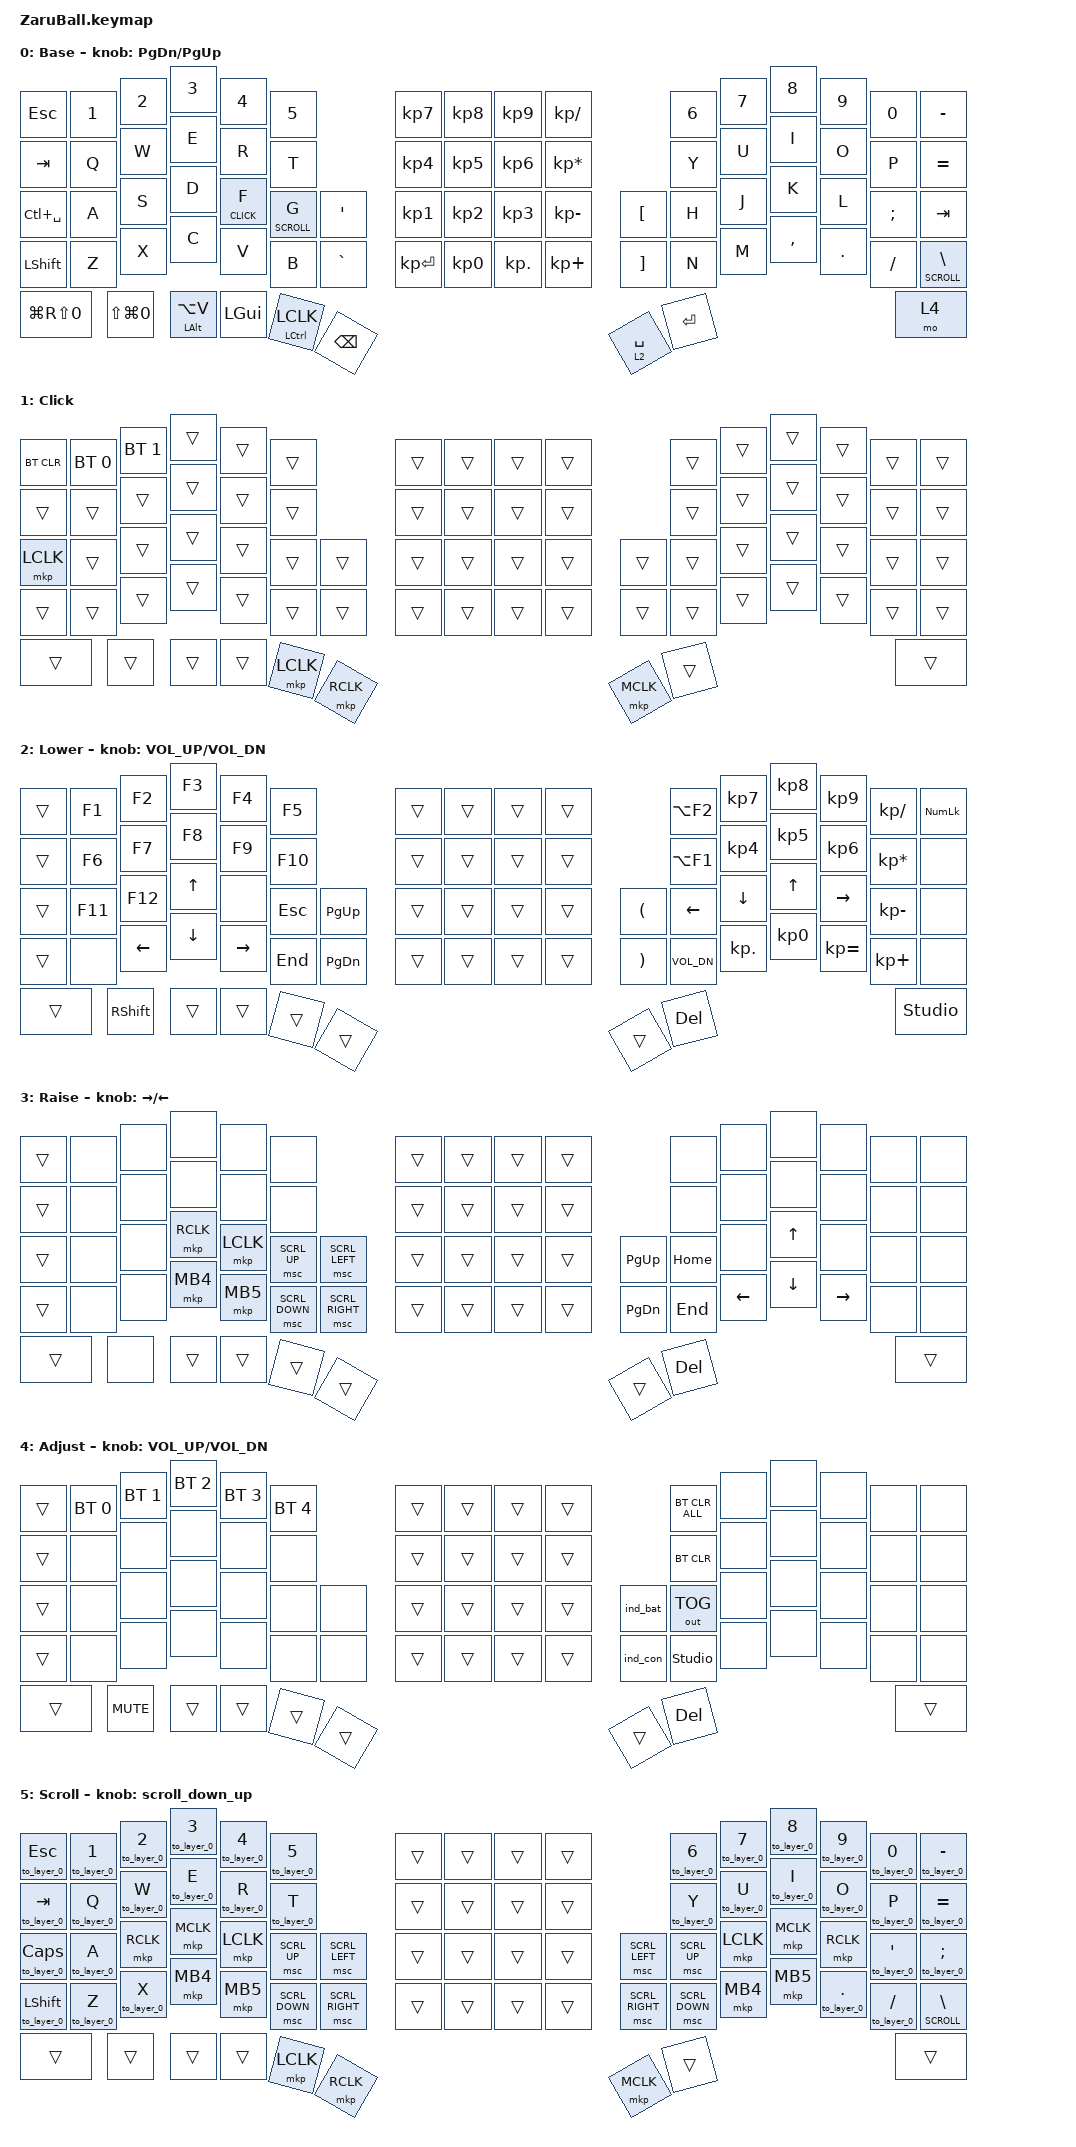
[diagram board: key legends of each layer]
//#include <dt-bindings/zmk/mouse.h>

#include <behaviors/rgbled_widget.dtsi>
#include <behaviors/naginata.dtsi>
#include <behaviors.dtsi>
#include <dt-bindings/zmk/bt.h>
#include <dt-bindings/zmk/keys.h>
#include <dt-bindings/zmk/outputs.h>
#include <dt-bindings/zmk/pointing.h>

#define BASE     0
#define CLICK    1
#define LOWER    2
#define RAISE    3
#define ADJUST   4
#define SCROLL   5

// スクロール量の設定

#define ZMK_POINTING_DEFAULT_MOVE_VAL 3200
#define ZMK_POINTING_DEFAULT_SCRL_VAL 24

/ {
    conditional_layers {
        compatible = "zmk,conditional-layers";

        tri_layer {
            if-layers = <2 3>;
            then-layer = <4>;
        };
    };
};

/ {
    behaviors {
        // スクロール用のbehaviorの設定

        scroll_down_up: behavior_sensor_rotate_mouse_wheel_down_up {
            compatible = "zmk,behavior-sensor-rotate";
            #sensor-binding-cells = <0>;
            bindings = <&msc SCRL_DOWN>, <&msc SCRL_UP>;

            tap-ms = <20>; // スクロールのタップ時間
        };

        td0: tap_dance_0 {
            compatible = "zmk,behavior-tap-dance";
            #binding-cells = <0>;
            tapping-term-ms = <200>;
            bindings = <&mt LALT LANG2>, <&mo RAISE>, <&mo CLICK>;
        };

        td1: tap_dance_1 {
            compatible = "zmk,behavior-tap-dance";
            #binding-cells = <0>;
            tapping-term-ms = <200>;
            bindings = <&mt RCTL LANG1>, <&mo RAISE>, <&mo CLICK>;
        };

        mt_lctrl_lclk: mt_lctrl_lclk {
            compatible = "zmk,behavior-hold-tap";
            label = "MOD_TAP_LCTRL_LCLK";
            #binding-cells = <2>;
            bindings = <&kp>, <&mkp>;

            tapping-term-ms = <200>;
            quick-tap-ms = <150>;
            flavor = "tap-preferred";
            hold-while-undecided;
            hold-trigger-on-release;
        };

        // Customed Hold-Tap for SandS

        SandS: SandS {
            compatible = "zmk,behavior-hold-tap";
            #binding-cells = <2>;
            flavor = "tap-unless-interrupted";
            tapping-term-ms = <500>;
            quick-tap-ms = <500>;
            bindings = <&kp>, <&kp>;

            display-name = "SandS";
        };

        CmdTap: CmdTap {
            compatible = "zmk,behavior-hold-tap";
            #binding-cells = <2>;
            flavor = "balanced";
            tapping-term-ms = <220>;
            quick-tap-ms = <170>;
            bindings = <&kp>, <&kp>;
        };
    };
};

&sl { release-after-ms = <250>; }; // time needed for double click (for mkp_exit_AML)
/ {
    macros {
        // When in AML, move to default layer when key (except mouse button) pressed

        to_layer_0: to_layer_0 {
            compatible = "zmk,behavior-macro-one-param";
            #binding-cells = <1>;
            bindings = <&tog CLICK &macro_param_1to1 &kp MACRO_PLACEHOLDER>;
            label = "TO_layer_0";
        };

        // When LCLK pressed, exit AML (after 250ms cause by sticky layer

        mkp_exit_AML: mkp_exit_AML {
            compatible = "zmk,behavior-macro-one-param";
            #binding-cells = <1>;
            bindings =
                <&macro_press>,
                <&macro_param_1to1 &mkp MACRO_PLACEHOLDER>,
                <&macro_pause_for_release>,
                <&macro_release>,
                <&macro_param_1to1 &mkp MACRO_PLACEHOLDER>,
                <&macro_tap>,
                <&sl CLICK>;

            label = "MKP_EXIT_AML";
        };
    };
};

/ {
    keymap {
        compatible = "zmk,keymap";

        base_layer {
            display-name = "Base";
            sensor-bindings = <&inc_dec_kp PAGE_DOWN PAGE_UP>;
            bindings = <
&kp ESC         &kp N1          &kp N2  &kp N3              &kp N4        &kp N5                                      &kp KP_N7     &kp KP_N8  &kp KP_N9   &kp KP_DIVIDE                   &kp NUMBER_6  &kp N7  &kp N8     &kp N9   &kp N0    &kp MINUS
&kp TAB         &kp Q           &kp W   &kp E               &kp R         &kp T                                       &kp KP_N4     &kp KP_N5  &kp KP_N6   &kp KP_MULTIPLY                 &kp Y         &kp U   &kp I      &kp O    &kp P     &kp EQUAL
&kp LC(SPACE)   &kp A           &kp S   &kp D               &lt CLICK F   &lt SCROLL G               &kp SQT          &kp KP_N1     &kp KP_N2  &kp KP_N3   &kp KP_MINUS       &kp LBKT     &kp H         &kp J   &kp K      &kp L    &kp SEMI  &kp TAB
&kp LSHFT       &kp Z           &kp X   &kp C               &kp V         &kp B                      &kp GRAVE        &kp KP_ENTER  &kp KP_N0  &kp KP_DOT  &kp KP_PLUS        &kp RBKT     &kp N         &kp M   &kp COMMA  &kp DOT  &kp FSLH  &lt SCROLL BACKSLASH
&kp LG(RS(N0))  &kp LS(LG(N0))          &mt LEFT_ALT LA(V)  &kp LEFT_GUI  &mt_lctrl_lclk LCTRL LCLK  &kp BACKSPACE                                                            &lt 2 SPACE  &kp ENTER                                           &mo 4
            >;
        };

        click_layer {
            display-name = "Click";
            bindings = <
&bt BT_CLR  &bt BT_SEL 0  &bt BT_SEL 1  &trans  &trans  &trans                  &trans  &trans  &trans  &trans               &trans  &trans  &trans  &trans  &trans  &trans
&trans      &trans        &trans        &trans  &trans  &trans                  &trans  &trans  &trans  &trans               &trans  &trans  &trans  &trans  &trans  &trans
&mkp LCLK   &trans        &trans        &trans  &trans  &trans     &trans       &trans  &trans  &trans  &trans    &trans     &trans  &trans  &trans  &trans  &trans  &trans
&trans      &trans        &trans        &trans  &trans  &trans     &trans       &trans  &trans  &trans  &trans    &trans     &trans  &trans  &trans  &trans  &trans  &trans
&trans      &trans                      &trans  &trans  &mkp LCLK  &mkp RCLK                                      &mkp MCLK  &trans                                  &trans
            >;
        };

        lower_layer {
            display-name = "Lower";
            sensor-bindings = <&inc_dec_kp C_VOL_UP C_VOL_DN>;
            bindings = <
&trans  &kp F1     &kp F2    &kp F3    &kp F4     &kp F5                   &trans  &trans  &trans  &trans              &kp LA(F2)      &kp KP_N7   &kp KP_N8  &kp KP_N9     &kp KP_SLASH     &kp KP_NUMLOCK
&trans  &kp F6     &kp F7    &kp F8    &kp F9     &kp F10                  &trans  &trans  &trans  &trans              &kp LA(F1)      &kp KP_N4   &kp KP_N5  &kp KP_N6     &kp KP_MULTIPLY  &none
&trans  &kp F11    &kp F12   &kp UP    &none      &kp ESCAPE  &kp PG_UP    &trans  &trans  &trans  &trans    &kp LPAR  &kp LEFT_ARROW  &kp DOWN    &kp UP     &kp RIGHT     &kp KP_MINUS     &none
&trans  &none      &kp LEFT  &kp DOWN  &kp RIGHT  &kp END     &kp PG_DN    &trans  &trans  &trans  &trans    &kp RPAR  &kp C_VOL_DN    &kp KP_DOT  &kp KP_N0  &kp KP_EQUAL  &kp KP_PLUS      &none
&trans  &kp RSHFT            &trans    &trans     &trans      &trans                                         &trans    &kp DEL                                                               &studio_unlock
            >;
        };

        raise_layer {
            display-name = "Raise";
            sensor-bindings = <&inc_dec_kp RIGHT LEFT>;
            bindings = <
&trans  &none  &none  &none      &none      &none                              &trans  &trans  &trans  &trans               &none     &none     &none     &none      &none  &none
&trans  &none  &none  &none      &none      &none                              &trans  &trans  &trans  &trans               &none     &none     &none     &none      &none  &none
&trans  &none  &none  &mkp RCLK  &mkp LCLK  &msc SCRL_UP    &msc SCRL_LEFT     &trans  &trans  &trans  &trans    &kp PG_UP  &kp HOME  &none     &kp UP    &none      &none  &none
&trans  &none  &none  &mkp MB4   &mkp MB5   &msc SCRL_DOWN  &msc SCRL_RIGHT    &trans  &trans  &trans  &trans    &kp PG_DN  &kp END   &kp LEFT  &kp DOWN  &kp RIGHT  &none  &none
&trans  &none         &trans     &trans     &trans          &trans                                               &trans     &kp DEL                                         &trans
            >;
        };

        adjust_layer {
            display-name = "Adjust";
            sensor-bindings = <&inc_dec_kp C_VOL_UP C_VOL_DN>;
            bindings = <
&trans  &bt BT_SEL 0  &bt BT_SEL 1  &bt BT_SEL 2  &bt BT_SEL 3  &bt BT_SEL 4            &trans  &trans  &trans  &trans              &bt BT_CLR_ALL  &none  &none  &none  &none  &none
&trans  &none         &none         &none         &none         &none                   &trans  &trans  &trans  &trans              &bt BT_CLR      &none  &none  &none  &none  &none
&trans  &none         &none         &none         &none         &none         &none     &trans  &trans  &trans  &trans    &ind_bat  &out OUT_TOG    &none  &none  &none  &none  &none
&trans  &none         &none         &none         &none         &none         &none     &trans  &trans  &trans  &trans    &ind_con  &studio_unlock  &none  &none  &none  &none  &none
&trans  &kp C_MUTE                  &trans        &trans        &trans        &trans                                      &trans    &kp DEL                                     &trans
            >;
        };

        scroll_layer {
            display-name = "Scroll";
            sensor-bindings = <&scroll_down_up>;
            bindings = <
&to_layer_0 ESC     &to_layer_0 N1  &to_layer_0 N2  &to_layer_0 N3  &to_layer_0 N4  &to_layer_0 N5                     &trans  &trans  &trans  &trans                     &to_layer_0 N6  &to_layer_0 N7  &to_layer_0 N8  &to_layer_0 N9      &to_layer_0 N0            &to_layer_0 MINUS
&to_layer_0 TAB     &to_layer_0 Q   &to_layer_0 W   &to_layer_0 E   &to_layer_0 R   &to_layer_0 T                      &trans  &trans  &trans  &trans                     &to_layer_0 Y   &to_layer_0 U   &to_layer_0 I   &to_layer_0 O       &to_layer_0 P             &to_layer_0 EQUAL
&to_layer_0 CAPS    &to_layer_0 A   &mkp RCLK       &mkp MCLK       &mkp LCLK       &msc SCRL_UP    &msc SCRL_LEFT     &trans  &trans  &trans  &trans    &msc SCRL_LEFT   &msc SCRL_UP    &mkp LCLK       &mkp MCLK       &mkp RCLK           &to_layer_0 SINGLE_QUOTE  &to_layer_0 SEMICOLON
&to_layer_0 LSHIFT  &to_layer_0 Z   &to_layer_0 X   &mkp MB4        &mkp MB5        &msc SCRL_DOWN  &msc SCRL_RIGHT    &trans  &trans  &trans  &trans    &msc SCRL_RIGHT  &msc SCRL_DOWN  &mkp MB4        &mkp MB5        &to_layer_0 PERIOD  &to_layer_0 SLASH         &lt SCROLL BACKSLASH
&trans              &trans                          &trans          &trans          &mkp LCLK       &mkp RCLK                                            &mkp MCLK        &trans                                                                                        &trans
            >;
        };

        // Extra layer can be added in ZMK STUDIO

        extra1 { status = "reserved"; };

        extra2 { status = "reserved"; };
    };
};
